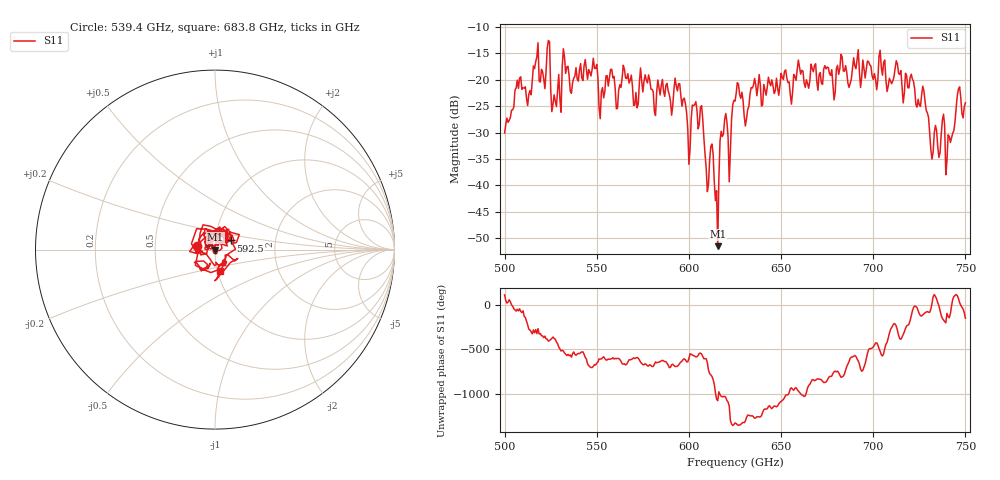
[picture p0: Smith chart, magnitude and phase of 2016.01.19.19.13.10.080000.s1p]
!Created with skrf (http://scikit-rf.org).
# GHz S RI R 50.0
!freq ReS11 ImS11
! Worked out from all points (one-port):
!   401 points, 500 GHz to 750 GHz, reference 50 ohm
!   lowest |S11| = -51.5 dB at 615.6 GHz (marker M1), VSWR 1.01, Z = 50.3 + j0.04 ohm
!   |S11| at or under -10 dB: start of sweep to end of sweep
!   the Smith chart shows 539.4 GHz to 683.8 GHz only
!   S11 on the Smith chart (normalised r, x): 539.4 GHz: 0.82, +0.03; 592.5 GHz: 1.19, +0.12; 683.8 GHz: 1.03, -0.25
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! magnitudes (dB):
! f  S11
! 500 GHz  -30.1
! 507.5 GHz  -21.6
! 513.1 GHz  -22.8
! 516.9 GHz  -16.6
! 523.8 GHz  -12.6
! 526.9 GHz  -22.9
! 531.2 GHz  -17.6
! 539.4 GHz  -19.9
! 562.5 GHz  -21.0
! 592.5 GHz  -19.7
! 593.8 GHz  -22.1
! 600 GHz  -36.0
! 606.9 GHz  -24.9
! 609.4 GHz  -36.8
! 612.5 GHz  -32.2
! 615.6 GHz  -51.5
! 618.1 GHz  -30.7
! 621.9 GHz  -39.3
! 625 GHz  -24.1
! 656.2 GHz  -22.4
! 683.8 GHz  -18.4
! 687.5 GHz  -20.7
! 718.8 GHz  -21.5
! 727.5 GHz  -22.1
! 731.9 GHz  -35.0
! 740.6 GHz  -30.4
! 746.2 GHz  -21.8
! 750 GHz  -24.4
